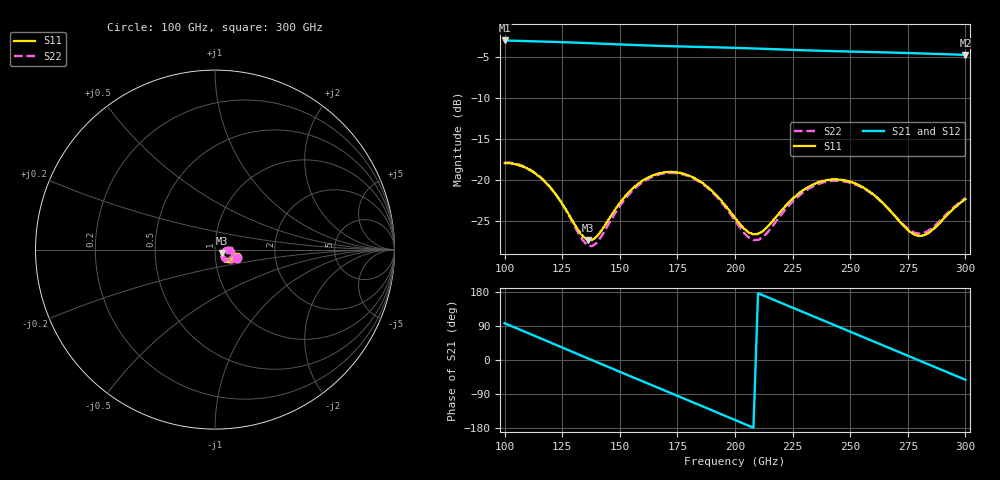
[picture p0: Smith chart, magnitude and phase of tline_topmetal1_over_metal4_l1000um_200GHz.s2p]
#  GHZ S DB R 50
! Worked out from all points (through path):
!   101 points, 100 GHz to 300 GHz, reference 50 ohm
!   highest |S21| = -2.94 dB at 100 GHz (marker M1); lowest = -4.7 dB at 300 GHz (marker M2)
!   group delay of S21, straight-line fit = 7.07 ps
!   lowest |S11| = -27.3 dB at 136 GHz (marker M3), VSWR 1.09, Z = 54 - j1.96 ohm
!   |S11| at or under -10 dB: start of sweep to end of sweep
!   |S22| runs from -28.1 to -17.8 dB; largest |S21 - S12| = 1.2e-15
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100  -17.91 -19.2  -2.94 97.1  -2.94 97.1  -17.83 -20.7
108  -18.34 -32.1  -3.00 76.6  -3.00 76.6  -18.26 -33.8
116  -19.79 -43.3  -3.07 56.1  -3.07 56.1  -19.73 -45.6
126  -23.31 -49.1  -3.15 30.4  -3.15 30.4  -23.36 -52.7
134  -26.87 -33.2  -3.24 9.8  -3.24 9.8  -27.37 -37.5
136  -27.30 -24.8  -3.26 4.7  -3.26 4.7  -27.95 -28.4
140  -26.88 -7.5  -3.30 -5.5  -3.30 -5.5  -27.64 -8.7
150  -22.78 7.6  -3.42 -31.1  -3.42 -31.1  -23.14 8.5
160  -20.03 -0.5  -3.53 -56.5  -3.53 -56.5  -20.22 -0.0
168  -19.10 -11.6  -3.60 -76.8  -3.60 -76.8  -19.23 -11.5
176  -19.10 -23.5  -3.67 -97.1  -3.67 -97.1  -19.20 -23.8
184  -20.00 -34.5  -3.72 -117.4  -3.72 -117.4  -20.10 -35.2
200  -24.60 -40.2  -3.84 -158.3  -3.84 -158.3  -24.93 -42.4
210  -26.55 -14.9  -3.93 176.2  -3.93 176.2  -27.28 -15.0
222  -23.12 3.0  -4.05 145.7  -4.05 145.7  -23.53 5.4
234  -20.50 -6.1  -4.17 115.3  -4.17 115.3  -20.73 -3.7
250  -20.18 -27.2  -4.29 74.8  -4.29 74.8  -20.31 -24.7
268  -23.93 -40.8  -4.42 29.1  -4.42 29.1  -23.90 -37.7
276  -26.31 -30.8  -4.48 8.7  -4.48 8.7  -26.11 -27.7
282  -26.73 -15.0  -4.53 -6.5  -4.53 -6.5  -26.43 -12.8
290  -24.87 -0.9  -4.60 -26.8  -4.60 -26.8  -24.65 0.3
300  -22.29 -2.0  -4.70 -52.1  -4.70 -52.1  -22.18 -0.6
